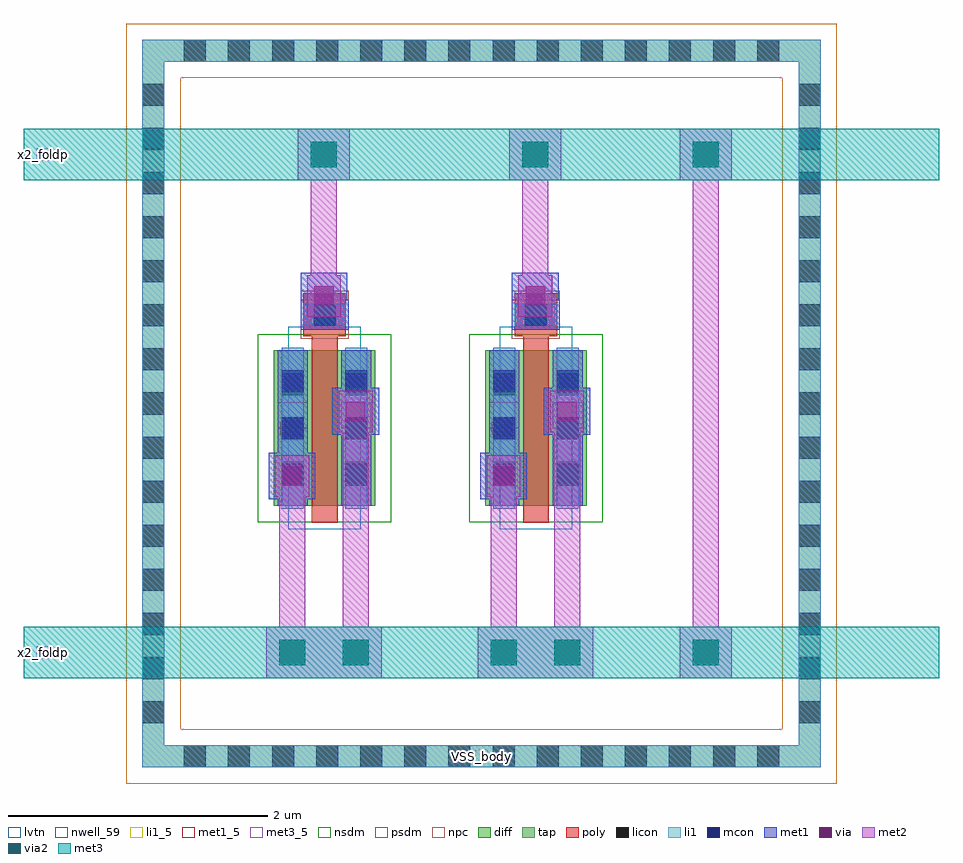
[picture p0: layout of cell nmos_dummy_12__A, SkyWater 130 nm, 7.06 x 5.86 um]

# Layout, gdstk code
import gdstk
lib = gdstk.Library(unit=1e-6, precision=1e-09)
def R(c, l, rs):  # rectangles x0, y0, x1, y1
    for r in rs: c.add(gdstk.rectangle(r[:2], r[2:], *l))
def A(c, l, x, y, w, h, nx, ny, dx, dy):  # array of equal rectangles
    R(c, l, [(x+i*dx, y+j*dy, x+i*dx+w, y+j*dy+h) for i in range(nx) for j in range(ny)])
nwell_59 = (64, 59)
diff = (65, 20)
tap = (65, 44)
poly = (66, 20)
licon = (66, 44)
li1_5 = (67, 5)
li1 = (67, 20)
mcon = (67, 44)
met1_5 = (68, 5)
met1 = (68, 20)
via = (68, 44)
met2 = (69, 20)
via2 = (69, 44)
met3_5 = (70, 5)
met3 = (70, 20)
nsdm = (93, 44)
psdm = (94, 20)
npc = (95, 20)
lvtn = (125, 44)

sky130_fd_pr__nfet_01v8_ = lib.new_cell('sky130_fd_pr__nfet_01v8_lvt_CWMMG4')
R(sky130_fd_pr__nfet_01v8_, diff, [(-0.39,-0.755,0.39,0.445)])
R(sky130_fd_pr__nfet_01v8_, poly, [(-0.1,-0.885,0.1,0.555), (-0.165,0.555,0.165,0.885)])
A(sky130_fd_pr__nfet_01v8_, licon, -0.33, -0.58, 0.17, 0.17, 1, 3, 0, 0.34)
A(sky130_fd_pr__nfet_01v8_, licon, 0.16, -0.58, 0.17, 0.17, 1, 3, 0, 0.34)
R(sky130_fd_pr__nfet_01v8_, licon, [(-0.085,0.635,0.085,0.805)])
R(sky130_fd_pr__nfet_01v8_, li1, [(-0.33,-0.775,-0.16,0.465), (0.16,-0.775,0.33,0.465), (-0.165,0.635,0.165,0.805)])
A(sky130_fd_pr__nfet_01v8_, mcon, -0.33, -0.6, 0.17, 0.17, 1, 3, 0, 0.36)
A(sky130_fd_pr__nfet_01v8_, mcon, 0.16, -0.6, 0.17, 0.17, 1, 3, 0, 0.36)
R(sky130_fd_pr__nfet_01v8_, mcon, [(-0.085,0.635,0.085,0.805)])
R(sky130_fd_pr__nfet_01v8_, met1, [(-0.36,-0.755,-0.13,0.445), (0.13,-0.755,0.36,0.445), (-0.145,0.605,0.145,0.835)])
R(sky130_fd_pr__nfet_01v8_, nsdm, [(-0.515,-0.88,0.515,0.57)])
R(sky130_fd_pr__nfet_01v8_, npc, [(-0.185,0.535,0.185,0.905)])
R(sky130_fd_pr__nfet_01v8_, lvtn, [(-0.28,-0.935,0.28,0.625)])
sky130_fd_pr__nfet_01v8_.add(gdstk.Label('D', (-0.245,-0.155), layer=67, texttype=5))
sky130_fd_pr__nfet_01v8_.add(gdstk.Label('S', (0.245,-0.155), layer=67, texttype=5))
sky130_fd_pr__nfet_01v8_.add(gdstk.Label('G', (0,0.72), layer=67, texttype=5))

nfet_01v8_lvt_w1p2_l0p2_ = lib.new_cell('nfet_01v8_lvt_W1p2_L0p2_m2__nf1_gtop_sdfull_ng')
R(nfet_01v8_lvt_w1p2_l0p2_, nwell_59, [(0.05,0.68,0.15,0.78)])
R(nfet_01v8_lvt_w1p2_l0p2_, met1_5, [(0.03,0.73,0.26,0.93), (0.52,0.73,0.75,0.93), (0.205,1.49,0.575,1.72)])
R(nfet_01v8_lvt_w1p2_l0p2_, met1, [(0.03,0.73,0.26,0.93), (0.52,0.73,0.75,0.93), (0.205,1.49,0.575,1.72)])
nfet_01v8_lvt_w1p2_l0p2_.add(gdstk.Reference(sky130_fd_pr__nfet_01v8_, (0.39,0.885)))
nfet_01v8_lvt_w1p2_l0p2_.add(gdstk.Label('D', (0.145,0.83), layer=68, texttype=5))
nfet_01v8_lvt_w1p2_l0p2_.add(gdstk.Label('S', (0.635,0.83), layer=68, texttype=5))
nfet_01v8_lvt_w1p2_l0p2_.add(gdstk.Label('G', (0.39,1.605), layer=68, texttype=5))
nfet_01v8_lvt_w1p2_l0p2_.add(gdstk.Label('B', (0.1,0.73), layer=64, texttype=59))

nmos_dummy_12__a = lib.new_cell('nmos_dummy_12__A')
R(nmos_dummy_12__a, tap, [(-0.885,-1.885,4.345,-1.715), (-0.885,-1.715,-0.715,3.555), (4.175,-1.715,4.345,3.555), (-0.885,3.555,4.345,3.725)])
A(nmos_dummy_12__a, licon, -0.565, -1.885, 0.17, 0.17, 14, 2, 0.34, 5.44)
A(nmos_dummy_12__a, licon, -0.885, -1.545, 0.17, 0.17, 1, 15, 0, 0.34)
A(nmos_dummy_12__a, licon, 4.175, -1.545, 0.17, 0.17, 1, 15, 0, 0.34)
R(nmos_dummy_12__a, li1_5, [(1.68,-1.85,1.78,-1.75)])
R(nmos_dummy_12__a, li1, [(-0.885,-1.885,4.345,-1.715), (-0.885,-1.715,-0.715,3.555), (4.175,-1.715,4.345,3.555), (-0.885,3.555,4.345,3.725)])
R(nmos_dummy_12__a, met1, [(0.09,0.18,0.45,0.54), (1.72,0.18,2.08,0.54), (0.58,0.68,0.94,1.04), (2.21,0.68,2.57,1.04), (0.335,1.57,0.695,1.93), (1.965,1.57,2.325,1.93)])
R(nmos_dummy_12__a, via, [(0.195,0.285,0.345,0.435), (1.825,0.285,1.975,0.435), (0.685,0.785,0.835,0.935), (2.315,0.785,2.465,0.935), (0.44,1.675,0.59,1.825), (2.07,1.675,2.22,1.825)])
R(nmos_dummy_12__a, met2, [(0.07,-1.2,0.96,-0.8), (1.7,-1.2,2.59,-0.8), (3.26,-1.2,3.66,-0.8), (0.17,-0.8,0.37,0.2), (0.66,-0.8,0.86,0.7), (1.8,-0.8,2,0.2), (2.29,-0.8,2.49,0.7), (3.36,-0.8,3.56,2.64), (0.14,0.2,0.4,0.52), (1.77,0.2,2.03,0.52), (0.63,0.7,0.89,1.02), (2.26,0.7,2.52,1.02), (0.385,1.59,0.645,1.91), (2.015,1.59,2.275,1.91), (0.415,1.91,0.615,2.64), (2.045,1.91,2.245,2.64), (0.315,2.64,0.715,3.04), (1.945,2.64,2.345,3.04), (3.26,2.64,3.66,3.04)])
R(nmos_dummy_12__a, via2, [(0.17,-1.1,0.37,-0.9), (0.66,-1.1,0.86,-0.9), (1.8,-1.1,2,-0.9), (2.29,-1.1,2.49,-0.9), (3.36,-1.1,3.56,-0.9), (0.415,2.74,0.615,2.94), (2.045,2.74,2.245,2.94), (3.36,2.74,3.56,2.94)])
R(nmos_dummy_12__a, met3_5, [(-1.7,-1.05,-1.6,-0.95), (-1.7,2.79,-1.6,2.89)])
R(nmos_dummy_12__a, met3, [(-1.8,-1.2,5.26,-0.8), (-1.8,2.64,5.26,3.04)])
R(nmos_dummy_12__a, psdm, [(-1.01,-2.01,4.47,-1.59), (-1.01,-1.59,-0.59,3.43), (4.05,-1.59,4.47,3.43), (-1.01,3.43,4.47,3.85)])
nmos_dummy_12__a.add(gdstk.Reference(nfet_01v8_lvt_w1p2_l0p2_, (1.76,0)))
nmos_dummy_12__a.add(gdstk.Reference(nfet_01v8_lvt_w1p2_l0p2_, (0.13,0)))
nmos_dummy_12__a.add(gdstk.Label('x2_foldp', (-1.65,2.84), layer=70, texttype=5))
nmos_dummy_12__a.add(gdstk.Label('x2_foldp', (-1.65,-1), layer=70, texttype=5))
nmos_dummy_12__a.add(gdstk.Label('VSS_body', (1.73,-1.8), layer=67, texttype=5))

lib.write_gds('nmos_dummy_12__A.gds')
